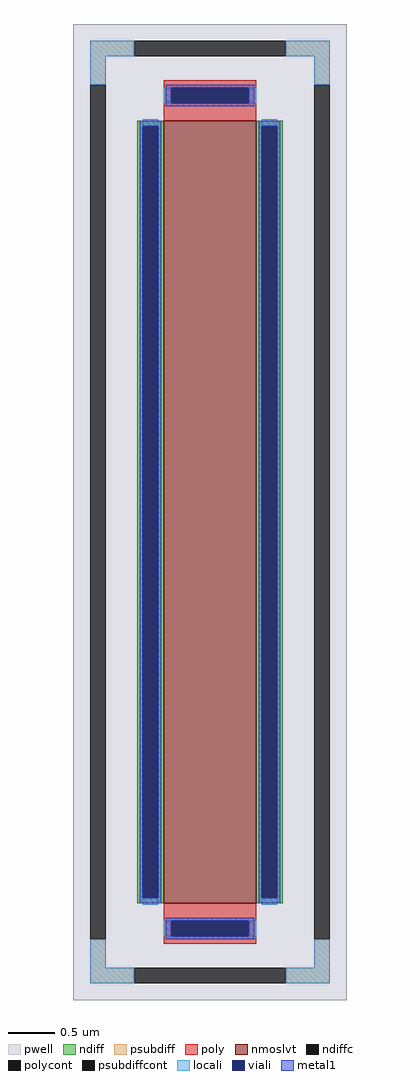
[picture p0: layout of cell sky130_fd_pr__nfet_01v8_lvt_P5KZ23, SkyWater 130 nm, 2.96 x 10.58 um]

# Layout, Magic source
magic
tech sky130A
<< pwell >>
rect -148 -529 148 529
<< nmoslvt >>
rect -50 -424 50 424
<< ndiff >>
rect -79 418 -50 424
rect -79 -418 -73 418
rect -56 -418 -50 418
rect -79 -424 -50 -418
rect 50 418 79 424
rect 50 -418 56 418
rect 73 -418 79 418
rect 50 -424 79 -418
<< ndiffc >>
rect -73 -418 -56 418
rect 56 -418 73 418
<< psubdiff >>
rect -130 494 -82 511
rect 82 494 130 511
rect -130 463 -113 494
rect 113 463 130 494
rect -130 -494 -113 -463
rect 113 -494 130 -463
rect -130 -511 -82 -494
rect 82 -511 130 -494
<< psubdiffcont >>
rect -82 494 82 511
rect -130 -463 -113 463
rect 113 -463 130 463
rect -82 -511 82 -494
<< poly >>
rect -50 460 50 468
rect -50 443 -42 460
rect 42 443 50 460
rect -50 424 50 443
rect -50 -443 50 -424
rect -50 -460 -42 -443
rect 42 -460 50 -443
rect -50 -468 50 -460
<< polycont >>
rect -42 443 42 460
rect -42 -460 42 -443
<< locali >>
rect -130 494 -82 511
rect 82 494 130 511
rect -130 463 -113 494
rect 113 463 130 494
rect -50 443 -42 460
rect 42 443 50 460
rect -73 418 -56 426
rect -73 -426 -56 -418
rect 56 418 73 426
rect 56 -426 73 -418
rect -50 -460 -42 -443
rect 42 -460 50 -443
rect -130 -494 -113 -463
rect 113 -494 130 -463
rect -130 -511 -82 -494
rect 82 -511 130 -494
<< viali >>
rect -42 443 42 460
rect -73 -418 -56 418
rect 56 -418 73 418
rect -42 -460 42 -443
<< metal1 >>
rect -48 460 48 463
rect -48 443 -42 460
rect 42 443 48 460
rect -48 440 48 443
rect -76 418 -53 424
rect -76 -418 -73 418
rect -56 -418 -53 418
rect -76 -424 -53 -418
rect 53 418 76 424
rect 53 -418 56 418
rect 73 -418 76 418
rect 53 -424 76 -418
rect -48 -443 48 -440
rect -48 -460 -42 -443
rect 42 -460 48 -443
rect -48 -463 48 -460
<< properties >>
string FIXED_BBOX -121 -502 121 502
string gencell sky130_fd_pr__nfet_01v8_lvt
string library sky130
string parameters w 8.484 l 1.0 m 1 nf 1 diffcov 100 polycov 100 guard 1 glc 1 grc 1 gtc 1 gbc 1 tbcov 100 rlcov 100 topc 1 botc 1 poverlap 0 doverlap 1 lmin 0.15 wmin 0.42 compatible {sky130_fd_pr__nfet_01v8 sky130_fd_pr__nfet_01v8_lvt  sky130_fd_bs_flash__special_sonosfet_star  sky130_fd_pr__nfet_g5v0d10v5 sky130_fd_pr__nfet_05v0_nvt  sky130_fd_pr__nfet_03v3_nvt} full_metal 1 viasrc 100 viadrn 100 viagate 100 viagb 0 viagr 0 viagl 0 viagt 0
<< end >>
